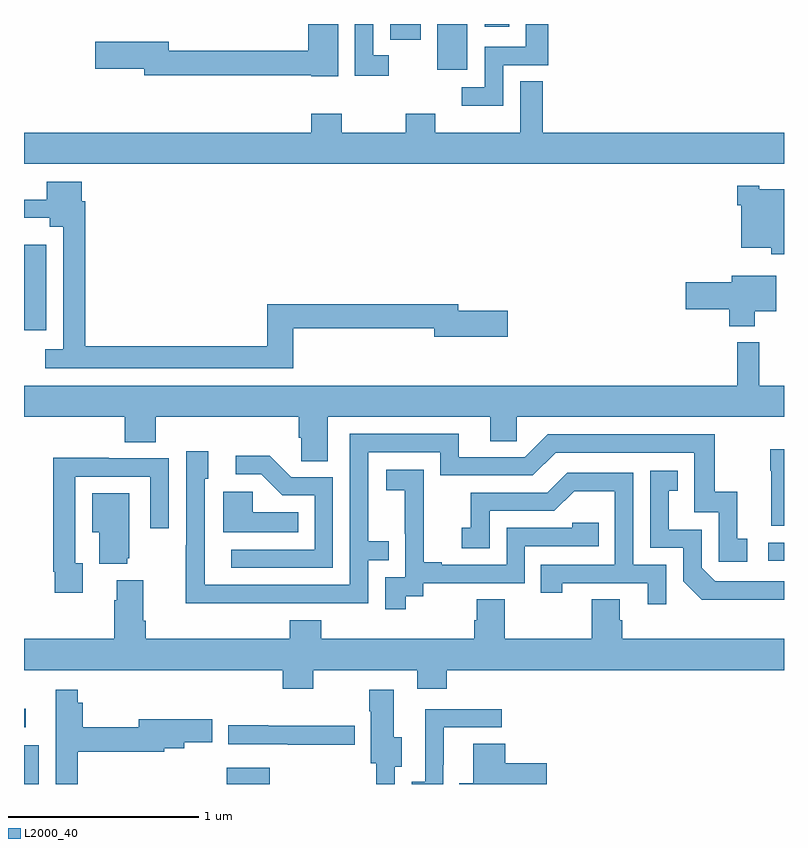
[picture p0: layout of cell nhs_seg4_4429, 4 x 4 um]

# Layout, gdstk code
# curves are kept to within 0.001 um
import gdstk
lib = gdstk.Library(unit=1e-6, precision=1e-09)
def R(c, l, rs):  # rectangles x0, y0, x1, y1
    for r in rs: c.add(gdstk.rectangle(r[:2], r[2:], *l))
def P(c, l, *ps):  # polygons
    for p in ps: c.add(gdstk.Polygon(p, *l))
L2000_40 = (2000, 40)

nhs_seg4_4429 = lib.new_cell('nhs_seg4_4429')
R(nhs_seg4_4429, L2000_40, [(349,782.9,349.078,783.105), (350.066,782.9,350.293,782.986), (349,783.198,349.009,783.295), (352.917,784.074,353,784.17), (349,785.289,349.117,785.737), (351.176,786.66,351.334,786.9), (350.927,786.816,351.088,786.9), (351.426,786.885,351.553,786.9)])
P(nhs_seg4_4429, L2000_40, [(350.653,786.9),(350.495,786.9),(350.495,786.758),(349.762,786.758),(349.762,786.806),(349.374,786.806),(349.374,786.664),(349.634,786.664),(349.634,786.63),(350.511,786.63),(350.511,786.626),(350.653,786.626)],
  [(351.522,786.684),(351.76,786.684),(351.76,786.9),(351.641,786.9),(351.641,786.78),(351.426,786.78),(351.426,786.567),(351.303,786.567),(351.303,786.47),(351.522,786.47)],
  [(350.92,786.735),(350.838,786.735),(350.838,786.9),(350.742,786.9),(350.742,786.627),(350.92,786.627)],
  [(353,786.328),(351.73,786.328),(351.73,786.599),(351.611,786.599),(351.611,786.328),(351.165,786.328),(351.165,786.427),(351.01,786.427),(351.01,786.328),(350.673,786.328),(350.673,786.427),(350.513,786.427),(350.513,786.328),(349,786.328),(349,786.164),(353,786.164)],
  [(350.417,785.298),(351.158,785.298),(351.158,785.255),(351.547,785.255),(351.547,785.39),(351.286,785.39),(351.286,785.426),(350.281,785.426),(350.281,785.204),(349.322,785.204),(349.322,785.966),(349.303,785.966),(349.303,786.07),(349.121,786.07),(349.121,785.976),(349,785.976),(349,785.88),(349.136,785.88),(349.136,785.834),(349.206,785.834),(349.206,785.188),(349.113,785.188),(349.113,785.088),(350.417,785.088)],
  [(353,786.031),(352.869,786.031),(352.869,786.049),(352.754,786.049),(352.754,785.945),(352.775,785.945),(352.775,785.723),(352.934,785.723),(352.934,785.687),(353,785.687)],
  [(352.846,785.387),(352.96,785.387),(352.96,785.575),(352.724,785.575),(352.724,785.54),(352.482,785.54),(352.482,785.398),(352.712,785.398),(352.712,785.309),(352.846,785.309)],
  [(350.599,784.832),(351.455,784.832),(351.455,784.705),(351.594,784.705),(351.594,784.832),(353,784.832),(353,784.996),(352.871,784.996),(352.871,785.224),(352.753,785.224),(352.753,784.996),(349,784.996),(349,784.832),(349.529,784.832),(349.529,784.699),(349.694,784.699),(349.694,784.832),(350.447,784.832),(350.447,784.723),(350.46,784.723),(350.46,784.6),(350.599,784.6)],
  [(350.315,783.852),(350.811,783.852),(350.811,784.077),(350.921,784.077),(350.921,784.178),(350.811,784.178),(350.811,784.647),(351.192,784.647),(351.192,784.524),(351.678,784.524),(351.798,784.644),(352.527,784.644),(352.527,784.329),(352.656,784.329),(352.656,784.071),(352.807,784.071),(352.807,784.191),(352.754,784.191),(352.754,784.438),(352.636,784.438),(352.636,784.74),(351.756,784.74),(351.636,784.62),(351.289,784.62),(351.289,784.743),(350.715,784.743),(350.715,783.948),(349.951,783.948),(349.95,784.506),(349.969,784.506),(349.969,784.651),(349.854,784.651),(349.854,784.157),(349.852,784.157),(349.852,783.851)],
  [(353,784.663),(352.927,784.663),(352.927,784.55),(352.934,784.55),(352.934,784.259),(353,784.259)],
  [(350.625,784.515),(350.406,784.515),(350.293,784.628),(350.115,784.628),(350.115,784.53),(350.249,784.53),(350.36,784.419),(350.529,784.419),(350.529,784.134),(350.091,784.134),(350.091,784.038),(350.625,784.038)],
  [(349.309,784.062),(349.269,784.062),(349.269,784.518),(349.665,784.518),(349.665,784.245),(349.761,784.245),(349.761,784.614),(349.445,784.614),(349.445,784.616),(349.153,784.616),(349.153,784.018),(349.161,784.018),(349.161,783.906),(349.309,783.906)],
  [(351.01,783.889),(351.102,783.889),(351.102,783.957),(351.636,783.957),(351.636,784.152),(352.025,784.152),(352.025,784.275),(351.885,784.275),(351.885,784.248),(351.54,784.248),(351.54,784.053),(351.199,784.053),(351.199,784.066),(351.104,784.066),(351.104,784.349),(351.105,784.349),(351.105,784.555),(350.907,784.555),(350.907,784.445),(351.005,784.445),(351.005,784.217),(351.006,784.217),(351.006,783.987),(350.901,783.987),(350.901,783.819),(351.01,783.819)],
  [(352.976,783.87),(353,783.87),(353,783.966),(352.638,783.966),(352.566,784.038),(352.566,784.239),(352.393,784.239),(352.393,784.443),(352.442,784.443),(352.442,784.549),(352.296,784.549),(352.296,784.143),(352.47,784.143),(352.47,783.966),(352.568,783.869)],
  [(352.38,784.053),(352.206,784.053),(352.206,784.539),(351.86,784.539),(351.755,784.434),(351.352,784.434),(351.352,784.249),(351.303,784.249),(351.303,784.14),(351.45,784.14),(351.45,784.338),(351.792,784.338),(351.896,784.442),(352.11,784.442),(352.11,784.053),(351.721,784.053),(351.721,783.906),(351.832,783.906),(351.832,783.957),(352.283,783.957),(352.283,783.846),(352.38,783.846)],
  [(350.444,784.33),(350.205,784.33),(350.205,784.438),(350.048,784.438),(350.048,784.226),(350.444,784.226)],
  [(349.544,784.089),(349.555,784.089),(349.555,784.429),(349.358,784.429),(349.358,784.226),(349.397,784.226),(349.397,784.058),(349.544,784.058)],
  [(350.523,783.5),(351.071,783.5),(351.071,783.401),(351.224,783.401),(351.224,783.5),(353,783.5),(353,783.664),(352.148,783.664),(352.148,783.762),(352.135,783.762),(352.135,783.872),(351.988,783.872),(351.988,783.664),(351.531,783.664),(351.531,783.872),(351.383,783.872),(351.383,783.762),(351.371,783.762),(351.371,783.664),(350.564,783.664),(350.564,783.763),(350.399,783.763),(350.399,783.664),(349.64,783.664),(349.64,783.76),(349.627,783.76),(349.627,783.973),(349.487,783.973),(349.487,783.866),(349.475,783.866),(349.475,783.664),(349,783.664),(349,783.5),(350.363,783.5),(350.363,783.401),(350.523,783.401)],
  [(350.952,782.992),(350.989,782.992),(350.989,783.147),(350.947,783.147),(350.947,783.397),(350.818,783.397),(350.818,783.284),(350.825,783.284),(350.825,783.008),(350.854,783.008),(350.854,782.9),(350.952,782.9)],
  [(349.283,783.07),(349.739,783.07),(349.739,783.089),(349.843,783.089),(349.843,783.119),(349.99,783.119),(349.99,783.241),(349.604,783.241),(349.604,783.199),(349.308,783.199),(349.308,783.328),(349.283,783.328),(349.283,783.397),(349.167,783.397),(349.167,782.9),(349.283,782.9)],
  [(351.207,783.001),(351.208,783.001),(351.208,783.198),(351.514,783.198),(351.514,783.294),(351.111,783.294),(351.111,782.913),(351.041,782.913),(351.041,782.9),(351.207,782.9)],
  [(350.74,783.206),(350.285,783.206),(350.285,783.209),(350.075,783.209),(350.075,783.108),(350.389,783.108),(350.389,783.106),(350.74,783.106)],
  [(351.751,783.008),(351.533,783.008),(351.533,783.113),(351.365,783.113),(351.365,782.905),(351.292,782.905),(351.292,782.9),(351.751,782.9)])

lib.write_gds('nhs_seg4_4429.gds')
